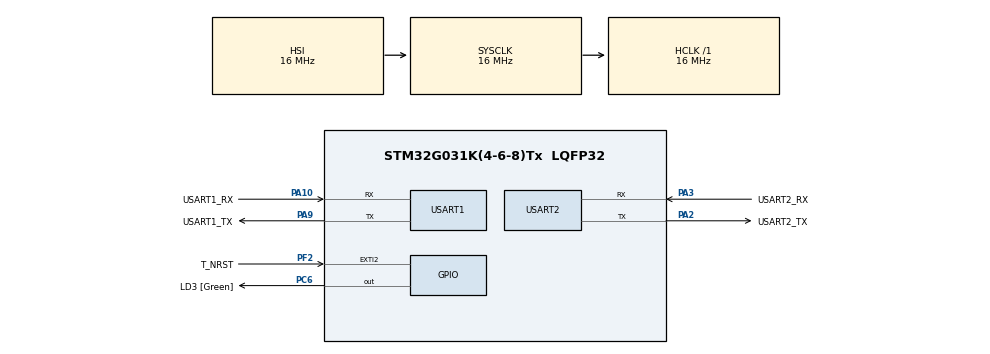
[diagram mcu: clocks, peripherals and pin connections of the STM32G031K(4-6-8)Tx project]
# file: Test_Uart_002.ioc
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Mcu.Family=STM32G0
Mcu.Name=STM32G031K(4-6-8)Tx
Mcu.Package=LQFP32
PA10.GPIO_FMPA10=__NULL
PA10.GPIO_Label=USART1_RX
PA10.GPIO_ModeDefaultPP=GPIO_MODE_AF_PP
PA10.GPIO_PuPd=GPIO_PULLUP
PA10.GPIO_Speed=GPIO_SPEED_FREQ_LOW
PA10.Mode=Asynchronous
PA10.Signal=USART1_RX
PA13.GPIO_Label=SWDIO
PA13.Mode=Serial_Wire
PA13.Signal=SYS_SWDIO
PA14-BOOT0.GPIO_Label=SWCLK
PA14-BOOT0.Mode=Serial_Wire
PA14-BOOT0.Signal=SYS_SWCLK
PA2.GPIO_Label=USART2_TX
PA2.GPIO_PuPd=GPIO_NOPULL
PA2.Mode=Asynchronous
PA2.Signal=USART2_TX
PA3.GPIO_Label=USART2_RX
PA3.GPIO_PuPd=GPIO_NOPULL
PA3.Mode=Asynchronous
PA3.Signal=USART2_RX
PA9.GPIO_FMPA9=__NULL
PA9.GPIO_Label=USART1_TX
PA9.GPIO_ModeDefaultPP=GPIO_MODE_AF_PP
PA9.GPIO_PuPd=GPIO_PULLUP
PA9.GPIO_Speed=GPIO_SPEED_FREQ_LOW
PA9.Mode=Asynchronous
PA9.Signal=USART1_TX
PC14-OSC32_IN\ (PC14).Mode=LSE-External-Oscillator
PC14-OSC32_IN\ (PC14).Signal=RCC_OSC32_IN
PC15-OSC32_OUT\ (PC15).Mode=LSE-External-Oscillator
PC15-OSC32_OUT\ (PC15).Signal=RCC_OSC32_OUT
PC6.GPIO_Label=LD3 [Green]
PC6.Signal=GPIO_Output
PF2\ -\ NRST.GPIO_Label=T_NRST
PF2\ -\ NRST.Signal=GPXTI2
ProjectManager.HeapSize=0x200
ProjectManager.StackSize=0x400
ProjectManager.TargetToolchain=STM32CubeIDE
RCC.AHBFreq_Value=16000000
RCC.CortexFreq_Value=16000000
RCC.EXTERNAL_CLOCK_VALUE=12288000
RCC.HCLKFreq_Value=16000000
RCC.HSE_VALUE=8000000
RCC.HSI_VALUE=16000000
RCC.SYSCLKFreq_VALUE=16000000
RCC.VCOOutputFreq_Value=128000000
USART1.VirtualMode-Asynchronous=VM_ASYNC
USART2.VirtualMode-Asynchronous=VM_ASYNC
USART2.WordLength=WORDLENGTH_7B
board=NUCLEO-G031K8

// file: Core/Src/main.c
/* USER CODE BEGIN Header */
/**
  ******************************************************************************
  * @file           : main.c
  * @brief          : Main program body
  ******************************************************************************
  * @attention
  *
  * Copyright (c) 2022 STMicroelectronics.
  * All rights reserved.
  *
  * This software is licensed under terms that can be found in the LICENSE file
  * in the root directory of this software component.
  * If no LICENSE file comes with this software, it is provided AS-IS.
  *
  ******************************************************************************
  */
/* USER CODE END Header */
#include "main.h"

/* USER CODE BEGIN Includes */
#include <stdio.h>
#include <string.h>
/* USER CODE END Includes */

/* USER CODE BEGIN PD */
#define UART_RX_TIMEOUT 1000
#define UART_TX_TIMEOUT 100
/* USER CODE END PD */

UART_HandleTypeDef huart1;
UART_HandleTypeDef huart2;

/* USER CODE BEGIN PV */
char        s_start[]   = "START\n" ;
uint8_t     i           = 33 ;
uint8_t     j[1]        = { 33 } ;
char        rcv[1]      = { 0 } ;
/* USER CODE END PV */

void SystemClock_Config(void);
static void MX_GPIO_Init(void);
static void MX_USART2_UART_Init(void);
static void MX_USART1_UART_Init(void);

int main(void)
{

  /* MCU Configuration--------------------------------------------------------*/

  /* Reset of all peripherals, Initializes the Flash interface and the Systick. */
  HAL_Init();

  /* Configure the system clock */
  SystemClock_Config();

  /* Initialize all configured peripherals */
  MX_GPIO_Init();
  MX_USART2_UART_Init();
  MX_USART1_UART_Init();

  /* Infinite loop */
  /* USER CODE BEGIN WHILE */
  while (1)
  {
      if ( HAL_UART_Transmit ( &huart2 , (const uint8_t *) &i , sizeof ( i ) , UART_TX_TIMEOUT ) != HAL_OK )
      {
          Error_Handler () ;
      }
      i++ ;
      if ( HAL_UART_Transmit ( &huart1 , (const uint8_t *) j , sizeof ( j ) , UART_TX_TIMEOUT ) != HAL_OK )
      {
          Error_Handler () ;
      }
      j[0]++ ;

      HAL_UART_Receive ( &huart1 , (uint8_t *) rcv , sizeof ( rcv ) , UART_RX_TIMEOUT ) ;
      if ( rcv[0] != 0 )
      {
          i = rcv[0] ;
          rcv[0] = 0 ;
      }

      HAL_Delay ( 1000 ) ;
    /* USER CODE END WHILE */

  }
}

void SystemClock_Config(void)
{
  RCC_OscInitTypeDef RCC_OscInitStruct = {0};
  RCC_ClkInitTypeDef RCC_ClkInitStruct = {0};

  /** Configure the main internal regulator output voltage
  */
  HAL_PWREx_ControlVoltageScaling(PWR_REGULATOR_VOLTAGE_SCALE1);

  /** Initializes the RCC Oscillators according to the specified parameters
  * in the RCC_OscInitTypeDef structure.
  */
  RCC_OscInitStruct.OscillatorType = RCC_OSCILLATORTYPE_HSI;
  RCC_OscInitStruct.HSIState = RCC_HSI_ON;
  RCC_OscInitStruct.HSIDiv = RCC_HSI_DIV1;
  RCC_OscInitStruct.HSICalibrationValue = RCC_HSICALIBRATION_DEFAULT;
  RCC_OscInitStruct.PLL.PLLState = RCC_PLL_NONE;
  if (HAL_RCC_OscConfig(&RCC_OscInitStruct) != HAL_OK)
  {
    Error_Handler();
  }

  /** Initializes the CPU, AHB and APB buses clocks
  */
  RCC_ClkInitStruct.ClockType = RCC_CLOCKTYPE_HCLK|RCC_CLOCKTYPE_SYSCLK
                              |RCC_CLOCKTYPE_PCLK1;
  RCC_ClkInitStruct.SYSCLKSource = RCC_SYSCLKSOURCE_HSI;
  RCC_ClkInitStruct.AHBCLKDivider = RCC_SYSCLK_DIV1;
  RCC_ClkInitStruct.APB1CLKDivider = RCC_HCLK_DIV1;

  if (HAL_RCC_ClockConfig(&RCC_ClkInitStruct, FLASH_LATENCY_0) != HAL_OK)
  {
    Error_Handler();
  }
}

static void MX_USART1_UART_Init(void)
{

  huart1.Instance = USART1;
  huart1.Init.BaudRate = 115200;
  huart1.Init.WordLength = UART_WORDLENGTH_8B;
  huart1.Init.StopBits = UART_STOPBITS_1;
  huart1.Init.Parity = UART_PARITY_NONE;
  huart1.Init.Mode = UART_MODE_TX_RX;
  huart1.Init.HwFlowCtl = UART_HWCONTROL_NONE;
  huart1.Init.OverSampling = UART_OVERSAMPLING_16;
  huart1.Init.OneBitSampling = UART_ONE_BIT_SAMPLE_DISABLE;
  huart1.Init.ClockPrescaler = UART_PRESCALER_DIV1;
  huart1.AdvancedInit.AdvFeatureInit = UART_ADVFEATURE_NO_INIT;
  if (HAL_UART_Init(&huart1) != HAL_OK)
  {
    Error_Handler();
  }
  if (HAL_UARTEx_SetTxFifoThreshold(&huart1, UART_TXFIFO_THRESHOLD_1_8) != HAL_OK)
  {
    Error_Handler();
  }
  if (HAL_UARTEx_SetRxFifoThreshold(&huart1, UART_RXFIFO_THRESHOLD_1_8) != HAL_OK)
  {
    Error_Handler();
  }
  if (HAL_UARTEx_DisableFifoMode(&huart1) != HAL_OK)
  {
    Error_Handler();
  }

}

static void MX_USART2_UART_Init(void)
{

  huart2.Instance = USART2;
  huart2.Init.BaudRate = 115200;
  huart2.Init.WordLength = UART_WORDLENGTH_7B;
  huart2.Init.StopBits = UART_STOPBITS_1;
  huart2.Init.Parity = UART_PARITY_NONE;
  huart2.Init.Mode = UART_MODE_TX_RX;
  huart2.Init.HwFlowCtl = UART_HWCONTROL_NONE;
  huart2.Init.OverSampling = UART_OVERSAMPLING_16;
  huart2.Init.OneBitSampling = UART_ONE_BIT_SAMPLE_DISABLE;
  huart2.Init.ClockPrescaler = UART_PRESCALER_DIV1;
  huart2.AdvancedInit.AdvFeatureInit = UART_ADVFEATURE_NO_INIT;
  if (HAL_UART_Init(&huart2) != HAL_OK)
  {
    Error_Handler();
  }

}

static void MX_GPIO_Init(void)
{
  GPIO_InitTypeDef GPIO_InitStruct = {0};

  /* GPIO Ports Clock Enable */
  __HAL_RCC_GPIOC_CLK_ENABLE();
  __HAL_RCC_GPIOF_CLK_ENABLE();
  __HAL_RCC_GPIOA_CLK_ENABLE();

  /*Configure GPIO pin Output Level */
  HAL_GPIO_WritePin(LD3_GPIO_Port, LD3_Pin, GPIO_PIN_RESET);

  /*Configure GPIO pin : T_NRST_Pin */
  GPIO_InitStruct.Pin = T_NRST_Pin;
  GPIO_InitStruct.Mode = GPIO_MODE_IT_RISING;
  GPIO_InitStruct.Pull = GPIO_NOPULL;
  HAL_GPIO_Init(T_NRST_GPIO_Port, &GPIO_InitStruct);

  /*Configure GPIO pin : LD3_Pin */
  GPIO_InitStruct.Pin = LD3_Pin;
  GPIO_InitStruct.Mode = GPIO_MODE_OUTPUT_PP;
  GPIO_InitStruct.Pull = GPIO_NOPULL;
  GPIO_InitStruct.Speed = GPIO_SPEED_FREQ_LOW;
  HAL_GPIO_Init(LD3_GPIO_Port, &GPIO_InitStruct);

}

void Error_Handler(void)
{
  __disable_irq();
  while (1)
  {
  }
}
